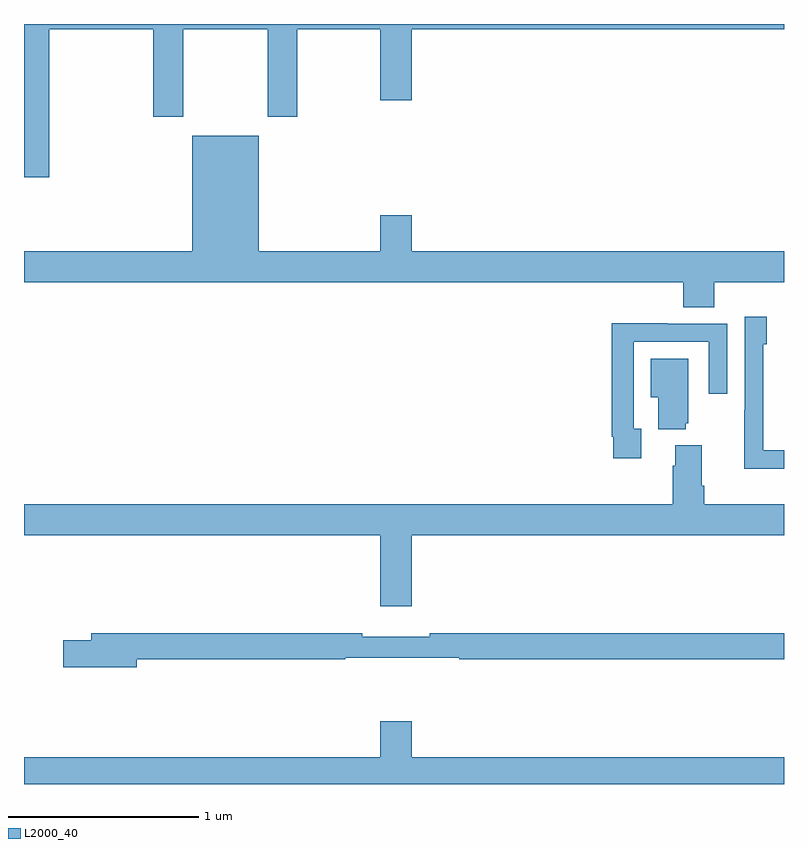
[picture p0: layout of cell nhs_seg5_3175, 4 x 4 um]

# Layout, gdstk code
import gdstk
lib = gdstk.Library(unit=1e-6, precision=1e-09)
def P(c, l, *ps):  # polygons
    for p in ps: c.add(gdstk.Polygon(p, *l))
L2000_40 = (2000, 40)

nhs_seg5_3175 = lib.new_cell('nhs_seg5_3175')
P(nhs_seg5_3175, L2000_40, [(295.133,844.772),(295.679,844.772),(295.679,844.311),(295.839,844.311),(295.839,844.772),(296.284,844.772),(296.284,844.311),(296.439,844.311),(296.439,844.772),(296.876,844.772),(296.876,844.398),(297.04,844.398),(297.04,844.772),(299,844.772),(299,844.799),(295,844.799),(295,843.993),(295.133,843.993)],
  [(298.634,843.44),(299,843.44),(299,843.604),(297.04,843.604),(297.04,843.793),(296.876,843.793),(296.876,843.604),(296.236,843.604),(296.236,844.21),(295.886,844.21),(295.886,843.604),(295,843.604),(295,843.44),(298.469,843.44),(298.469,843.307),(298.634,843.307)],
  [(299,842.556),(298.89,842.556),(298.89,843.114),(298.909,843.114),(298.909,843.259),(298.794,843.259),(298.794,842.765),(298.792,842.765),(298.792,842.459),(299,842.459)],
  [(298.249,842.67),(298.209,842.67),(298.209,843.126),(298.605,843.126),(298.605,842.853),(298.701,842.853),(298.701,843.222),(298.385,843.222),(298.385,843.224),(298.093,843.224),(298.093,842.626),(298.101,842.626),(298.101,842.514),(298.249,842.514)],
  [(298.484,842.697),(298.495,842.697),(298.495,843.037),(298.298,843.037),(298.298,842.834),(298.337,842.834),(298.337,842.666),(298.484,842.666)],
  [(297.04,842.108),(299,842.108),(299,842.272),(298.58,842.272),(298.58,842.368),(298.567,842.368),(298.567,842.581),(298.427,842.581),(298.427,842.474),(298.415,842.474),(298.415,842.272),(295,842.272),(295,842.108),(296.876,842.108),(296.876,841.734),(297.04,841.734)],
  [(295.594,841.456),(296.69,841.456),(296.69,841.464),(297.29,841.464),(297.29,841.456),(299,841.456),(299,841.592),(297.136,841.592),(297.136,841.573),(296.78,841.573),(296.78,841.592),(295.355,841.592),(295.355,841.556),(295.206,841.556),(295.206,841.414),(295.594,841.414)],
  [(299,840.94),(297.04,840.94),(297.04,841.129),(296.876,841.129),(296.876,840.94),(295,840.94),(295,840.799),(299,840.799)])

lib.write_gds('nhs_seg5_3175.gds')
